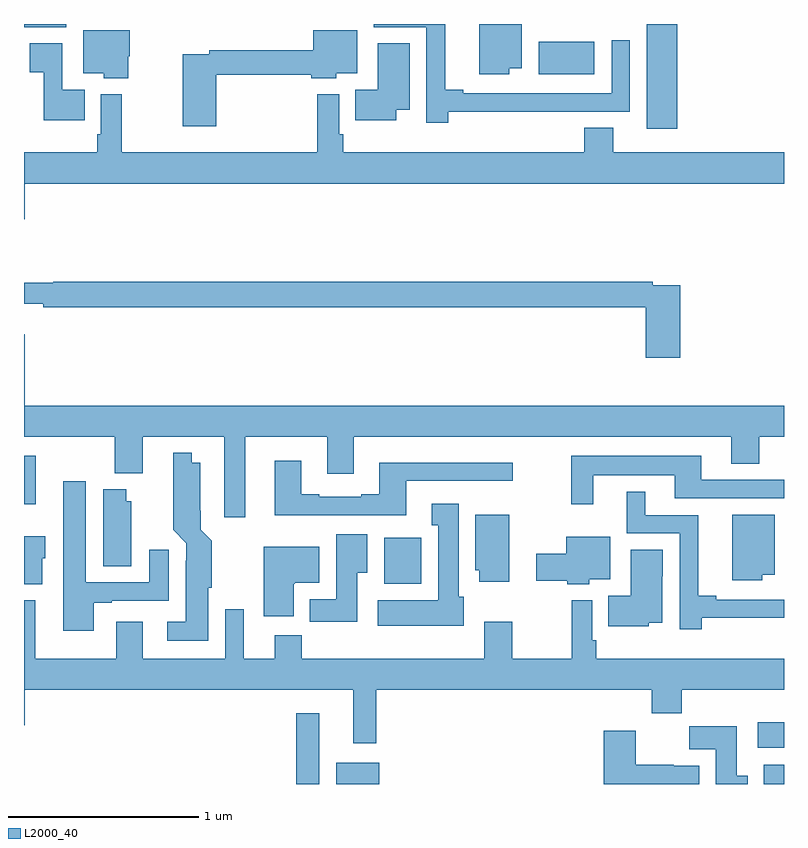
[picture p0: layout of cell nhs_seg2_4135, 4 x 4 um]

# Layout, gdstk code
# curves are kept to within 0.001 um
import gdstk
lib = gdstk.Library(unit=1e-6, precision=1e-09)
def R(c, l, rs):  # rectangles x0, y0, x1, y1
    for r in rs: c.add(gdstk.rectangle(r[:2], r[2:], *l))
def P(c, l, *ps):  # polygons
    for p in ps: c.add(gdstk.Polygon(p, *l))
L2000_40 = (2000, 40)

nhs_seg2_4135 = lib.new_cell('nhs_seg2_4135')
R(nhs_seg2_4135, L2000_40, [(334.434,653.8,334.555,654.172), (334.643,653.8,334.87,653.911), (336.893,653.8,337,653.902), (336.861,653.99,337,654.124), (334.895,654.854,335.092,655.096), (333,655.272,333.061,655.528), (336.278,657.249,336.437,657.8), (335.708,657.536,336.001,657.706), (333,657.783,333.223,657.8)])
P(nhs_seg2_4135, L2000_40, [(335.554,657.566),(335.62,657.566),(335.62,657.8),(335.396,657.8),(335.396,657.536),(335.554,657.536)],
  [(335.234,657.338),(335.864,657.338),(335.864,657.339),(336.189,657.339),(336.189,657.715),(336.093,657.715),(336.093,657.435),(335.311,657.435),(335.311,657.455),(335.216,657.455),(335.216,657.8),(334.841,657.8),(334.841,657.783),(335.118,657.783),(335.118,657.279),(335.234,657.279)],
  [(334.013,657.534),(334.511,657.534),(334.511,657.515),(334.644,657.515),(334.644,657.542),(334.753,657.542),(334.753,657.766),(334.523,657.766),(334.523,657.662),(333.976,657.662),(333.976,657.642),(333.835,657.642),(333.835,657.261),(334.013,657.261)],
  [(333.549,657.63),(333.556,657.63),(333.556,657.766),(333.311,657.766),(333.311,657.542),(333.42,657.542),(333.42,657.515),(333.549,657.515)],
  [(333.32,657.454),(333.201,657.454),(333.201,657.698),(333.031,657.698),(333.031,657.547),(333.104,657.547),(333.104,657.293),(333.32,657.293)],
  [(334.96,657.35),(335.029,657.35),(335.029,657.698),(334.862,657.698),(334.862,657.454),(334.744,657.454),(334.744,657.293),(334.96,657.293)],
  [(333.004,656.96),(337,656.96),(337,657.124),(336.1,657.124),(336.1,657.254),(335.948,657.254),(335.948,657.124),(334.679,657.124),(334.679,657.22),(334.659,657.22),(334.659,657.43),(334.543,657.43),(334.543,657.124),(333.514,657.124),(333.514,657.43),(333.405,657.43),(333.405,657.22),(333.385,657.22),(333.385,657.124),(333,657.124),(333,656.772),(333.004,656.772)],
  [(336.455,656.424),(336.308,656.424),(336.308,656.444),(333.155,656.444),(333.155,656.437),(333,656.437),(333,656.327),(333.1,656.327),(333.1,656.308),(336.272,656.308),(336.272,656.043),(336.455,656.043)],
  [(334.165,655.628),(334.595,655.628),(334.595,655.434),(334.735,655.434),(334.735,655.628),(336.722,655.628),(336.722,655.486),(336.87,655.486),(336.87,655.628),(337,655.628),(337,655.792),(333.004,655.792),(333.004,656.167),(333,656.167),(333,655.628),(333.478,655.628),(333.478,655.436),(333.625,655.436),(333.625,655.628),(334.055,655.628),(334.055,655.203),(334.165,655.203)],
  [(333.97,654.834),(333.988,654.834),(333.988,655.079),(333.929,655.138),(333.928,655.492),(333.883,655.492),(333.883,655.543),(333.786,655.543),(333.785,655.138),(333.855,655.068),(333.855,654.974),(333.851,654.974),(333.851,654.655),(333.753,654.655),(333.753,654.554),(333.97,654.554)],
  [(335.995,655.424),(336.425,655.424),(336.425,655.305),(337,655.305),(337,655.401),(336.565,655.401),(336.565,655.528),(335.881,655.528),(335.881,655.272),(335.995,655.272)],
  [(334.547,655.215),(335.011,655.215),(335.011,655.395),(335.572,655.395),(335.572,655.492),(334.871,655.492),(334.871,655.324),(334.775,655.324),(334.775,655.311),(334.555,655.311),(334.555,655.324),(334.459,655.324),(334.459,655.501),(334.319,655.501),(334.319,655.214),(334.547,655.214)],
  [(333.367,654.753),(333.463,654.753),(333.463,654.765),(333.763,654.765),(333.763,655.033),(333.659,655.033),(333.659,654.861),(333.325,654.861),(333.325,655.393),(333.206,655.393),(333.206,654.606),(333.367,654.606)],
  [(333.565,655.287),(333.538,655.287),(333.538,655.351),(333.416,655.351),(333.416,654.946),(333.565,654.946)],
  [(336.566,654.674),(337,654.674),(337,654.771),(336.643,654.771),(336.643,654.791),(336.548,654.791),(336.548,655.215),(336.271,655.215),(336.271,655.339),(336.173,655.339),(336.173,655.119),(336.45,655.119),(336.45,654.615),(336.566,654.615)],
  [(335.314,654.786),(335.287,654.786),(335.287,655.276),(335.147,655.276),(335.147,655.163),(335.18,655.163),(335.18,654.766),(334.863,654.766),(334.863,654.632),(335.314,654.632)],
  [(335.554,655.216),(335.375,655.216),(335.375,654.924),(335.396,654.924),(335.396,654.864),(335.554,654.864)],
  [(336.886,654.902),(336.952,654.902),(336.952,655.216),(336.728,655.216),(336.728,654.872),(336.886,654.872)],
  [(334.753,654.913),(334.807,654.913),(334.807,655.114),(334.643,655.114),(334.643,654.772),(334.505,654.772),(334.505,654.654),(334.753,654.654)],
  [(333.097,654.987),(333.112,654.987),(333.112,655.105),(333,655.105),(333,654.851),(333.097,654.851)],
  [(335.976,654.878),(336.085,654.878),(336.085,655.102),(335.855,655.102),(335.855,655.013),(335.697,655.013),(335.697,654.871),(335.859,654.871),(335.859,654.851),(335.976,654.851)],
  [(334.42,654.854),(334.426,654.854),(334.426,654.86),(334.555,654.86),(334.555,655.048),(334.262,655.048),(334.262,654.684),(334.42,654.684)],
  [(336.288,654.65),(336.358,654.65),(336.358,654.894),(336.361,654.894),(336.361,655.034),(336.194,655.034),(336.194,654.79),(336.076,654.79),(336.076,654.629),(336.288,654.629)],
  [(333.485,654.655),(333.485,654.46),(333.058,654.46),(333.058,654.766),(333,654.766),(333,654.108),(333.004,654.108),(333.004,654.296),(334.733,654.296),(334.733,654.015),(334.855,654.015),(334.855,654.296),(336.305,654.296),(336.305,654.172),(336.461,654.172),(336.461,654.296),(337,654.296),(337,654.46),(336.011,654.46),(336.011,654.556),(335.991,654.556),(335.991,654.766),(335.883,654.766),(335.883,654.46),(335.571,654.46),(335.571,654.655),(335.423,654.655),(335.423,654.46),(334.463,654.46),(334.463,654.584),(334.319,654.584),(334.319,654.46),(334.156,654.46),(334.156,654.721),(334.059,654.721),(334.059,654.46),(333.625,654.46),(333.625,654.655)],
  [(336.808,653.844),(336.751,653.844),(336.751,654.103),(336.502,654.103),(336.502,653.984),(336.641,653.984),(336.641,653.8),(336.808,653.8)],
  [(336.553,653.896),(336.42,653.896),(336.42,653.902),(336.22,653.902),(336.22,654.079),(336.05,654.079),(336.05,653.8),(336.553,653.8)])

lib.write_gds('nhs_seg2_4135.gds')
